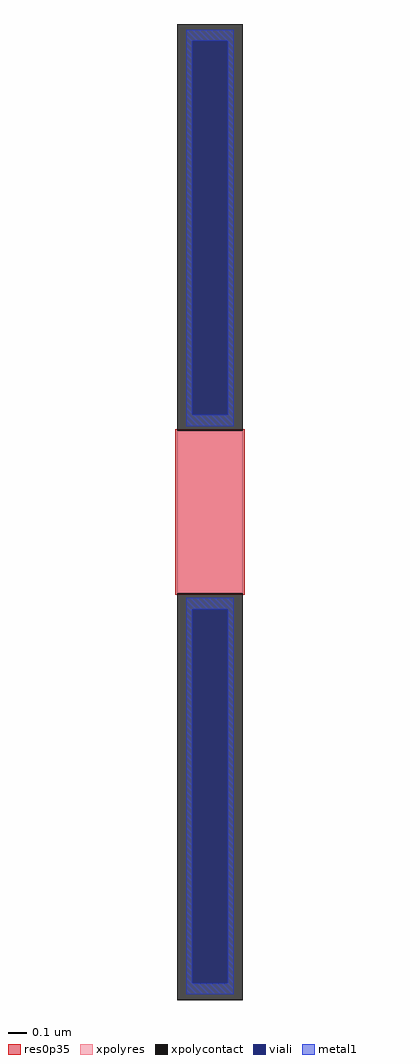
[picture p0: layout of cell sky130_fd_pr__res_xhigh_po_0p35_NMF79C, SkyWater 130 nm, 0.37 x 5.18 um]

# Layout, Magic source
magic
tech sky130A
magscale 1 2
<< xpolycontact >>
rect -35 86 35 518
rect -35 -518 35 -86
<< xpolyres >>
rect -35 -86 35 86
<< viali >>
rect -19 103 19 500
rect -19 -500 19 -103
<< metal1 >>
rect -25 500 25 512
rect -25 103 -19 500
rect 19 103 25 500
rect -25 91 25 103
rect -25 -103 25 -91
rect -25 -500 -19 -103
rect 19 -500 25 -103
rect -25 -512 25 -500
<< res0p35 >>
rect -37 -88 37 88
<< properties >>
string gencell sky130_fd_pr__res_xhigh_po_0p35
string parameters w 0.350 l 0.86 m 1 nx 1 wmin 0.350 lmin 0.50 rho 2000 val 5.023k dummy 0 dw 0.0 term 19.188 sterm 0.0 caplen 0 wmax 0.350 guard 0 glc 0 grc 0 gtc 0 gbc 0 compatible {sky130_fd_pr__res_xhigh_po_0p35  sky130_fd_pr__res_xhigh_po_0p69 sky130_fd_pr__res_xhigh_po_1p41  sky130_fd_pr__res_xhigh_po_2p85 sky130_fd_pr__res_xhigh_po_5p73} full_metal 0 n_guard 0 hv_guard 0 vias 1 viagb 0 viagt 0 viagl 0 viagr 0
string library sky130
<< end >>
